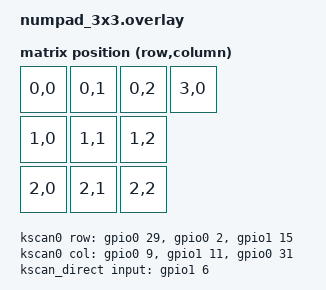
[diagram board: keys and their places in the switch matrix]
#include <dt-bindings/zmk/matrix_transform.h>
#include <dt-bindings/pinctrl/nrf-pinctrl.h>
#include <physical_layouts.dtsi>

/ {
    chosen {
        zmk,kscan = &kscan_composite;
        zmk,physical-layout = &default_layout;
        zephyr,display = &oled;
    };

    kscan0: kscan0 {
        compatible = "zmk,kscan-gpio-matrix";
        diode-direction = "col2row";
        

        row-gpios = <&gpio0 29 (GPIO_ACTIVE_HIGH | GPIO_PULL_DOWN)>,
                    <&gpio0 2 (GPIO_ACTIVE_HIGH | GPIO_PULL_DOWN)>,
                    <&gpio1 15 (GPIO_ACTIVE_HIGH | GPIO_PULL_DOWN)>;

        col-gpios = <&gpio0 9  GPIO_ACTIVE_HIGH>,
                    <&gpio1 11 GPIO_ACTIVE_HIGH>,
                    <&gpio0 31 GPIO_ACTIVE_HIGH>;
    };

    kscan_direct: kscan_direct {
        compatible = "zmk,kscan-gpio-direct";
        input-gpios = <&gpio1 6 (GPIO_ACTIVE_LOW | GPIO_PULL_UP)>;
    };

    kscan_composite: kscan_composite {
        compatible = "zmk,kscan-composite";
        rows = <4>;
        columns = <3>;

        matrix {
            kscan = <&kscan0>;
        };

        direct {
            kscan = <&kscan_direct>;
            row-offset = <3>;
        };
    };

    default_transform: default_transform {
        compatible = "zmk,matrix-transform";
        columns = <3>;
        rows = <4>;
        map = <
            RC(0,0) RC(0,1) RC(0,2)
            RC(1,0) RC(1,1) RC(1,2)
            RC(2,0) RC(2,1) RC(2,2)
            RC(3,0)
        >;
    };

    default_layout: default_layout {
        compatible = "zmk,physical-layout";
        display-name = "Default Layout";
        transform = <&default_transform>;
        kscan = <&kscan_composite>;
        
        keys = <&key_physical_attrs 100 100    0    0       0     0     0>
             , <&key_physical_attrs 100 100  100    0       0     0     0>
             , <&key_physical_attrs 100 100  200    0       0     0     0>
             , <&key_physical_attrs 100 100    0  100       0     0     0>
             , <&key_physical_attrs 100 100  100  100       0     0     0>
             , <&key_physical_attrs 100 100  200  100       0     0     0>
             , <&key_physical_attrs 100 100    0  200       0     0     0>
             , <&key_physical_attrs 100 100  100  200       0     0     0>
             , <&key_physical_attrs 100 100  200  200       0     0     0>
             , <&key_physical_attrs 100 100  300    0       0     0     0>;
    };
};

&i2c0 {
    compatible = "nordic,nrf-twi";
    pinctrl-0 = <&i2c0_default>;
    pinctrl-1 = <&i2c0_sleep>;
    pinctrl-names = "default", "sleep";
    clock-frequency = <I2C_BITRATE_STANDARD>;
    status = "okay";

    oled: ssd1306@3c {
        compatible = "solomon,ssd1306fb";
        reg = <0x3c>;
        label = "SSD1306";
        width = <128>;
        height = <32>;
        segment-offset = <0>;
        page-offset = <0>;
        display-offset = <0>;
        multiplex-ratio = <31>;
        segment-remap;
        com-invdir;
        com-sequential;
        prechargep = <0x22>;
    };
};

&pinctrl {
    i2c0_default: i2c0_default {
        group1 {
            psels = <NRF_PSEL(TWIM_SDA, 0, 8)>,
                    <NRF_PSEL(TWIM_SCL, 0, 6)>;
        };
    };

    i2c0_sleep: i2c0_sleep {
        group1 {
            psels = <NRF_PSEL(TWIM_SDA, 0, 8)>,
                    <NRF_PSEL(TWIM_SCL, 0, 6)>;
            low-power-enable;
        };
    };
};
